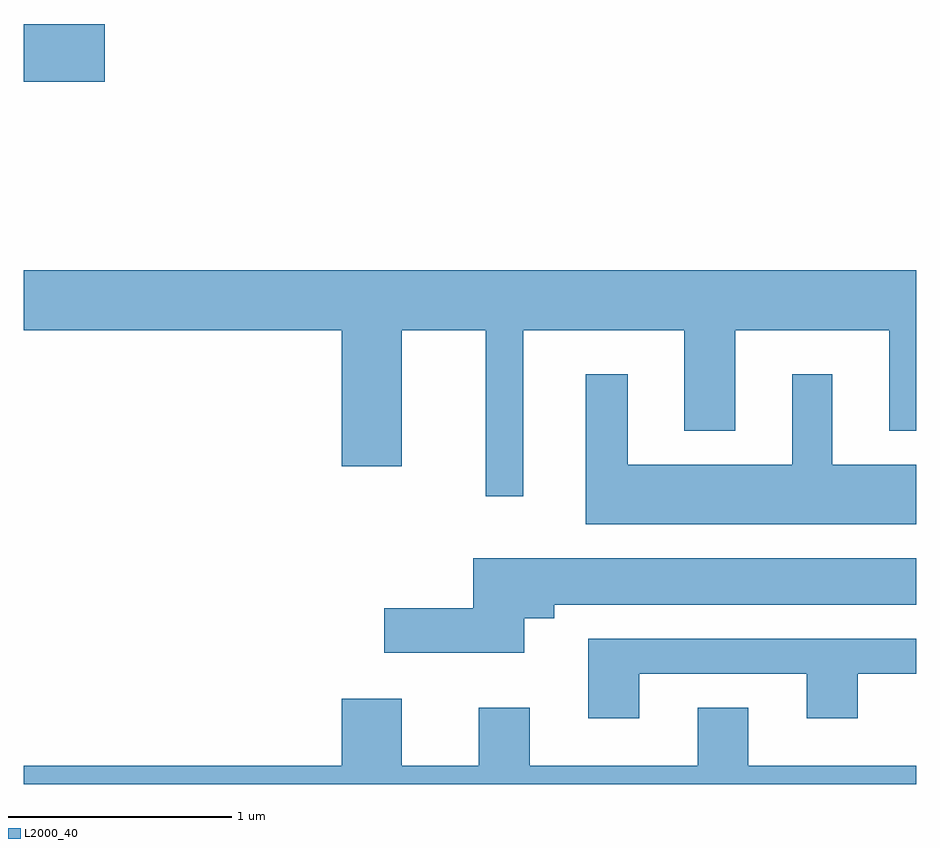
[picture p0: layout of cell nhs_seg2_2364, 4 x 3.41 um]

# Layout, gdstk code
import gdstk
lib = gdstk.Library(unit=1e-6, precision=1e-09)
def R(c, l, rs):  # rectangles x0, y0, x1, y1
    for r in rs: c.add(gdstk.rectangle(r[:2], r[2:], *l))
def P(c, l, *ps):  # polygons
    for p in ps: c.add(gdstk.Polygon(p, *l))
L2000_40 = (2000, 40)

nhs_seg2_2364 = lib.new_cell('nhs_seg2_2364')
R(nhs_seg2_2364, L2000_40, [(253.611,1084.951,253.974,1085.209)])
P(nhs_seg2_2364, L2000_40, [(255.849,1083.836),(256.571,1083.836),(256.571,1083.386),(256.799,1083.386),(256.799,1083.836),(257.491,1083.836),(257.491,1083.386),(257.611,1083.386),(257.611,1084.104),(253.611,1084.104),(253.611,1083.836),(255.036,1083.836),(255.036,1083.226),(255.304,1083.226),(255.304,1083.836),(255.681,1083.836),(255.681,1083.093),(255.849,1083.093)],
  [(257.611,1083.234),(257.234,1083.234),(257.234,1083.639),(257.056,1083.639),(257.056,1083.234),(256.319,1083.234),(256.319,1083.639),(256.131,1083.639),(256.131,1082.966),(257.611,1082.966)],
  [(255.854,1082.546),(255.989,1082.546),(255.989,1082.606),(257.611,1082.606),(257.611,1082.814),(255.626,1082.814),(255.626,1082.589),(255.226,1082.589),(255.226,1082.391),(255.854,1082.391)],
  [(256.369,1082.296),(257.121,1082.296),(257.121,1082.096),(257.349,1082.096),(257.349,1082.296),(257.611,1082.296),(257.611,1082.454),(256.141,1082.454),(256.141,1082.096),(256.369,1082.096)],
  [(257.611,1081.884),(256.859,1081.884),(256.859,1082.144),(256.631,1082.144),(256.631,1081.884),(255.879,1081.884),(255.879,1082.144),(255.651,1082.144),(255.651,1081.884),(255.304,1081.884),(255.304,1082.184),(255.036,1082.184),(255.036,1081.884),(253.611,1081.884),(253.611,1081.802),(257.611,1081.802)])

lib.write_gds('nhs_seg2_2364.gds')
